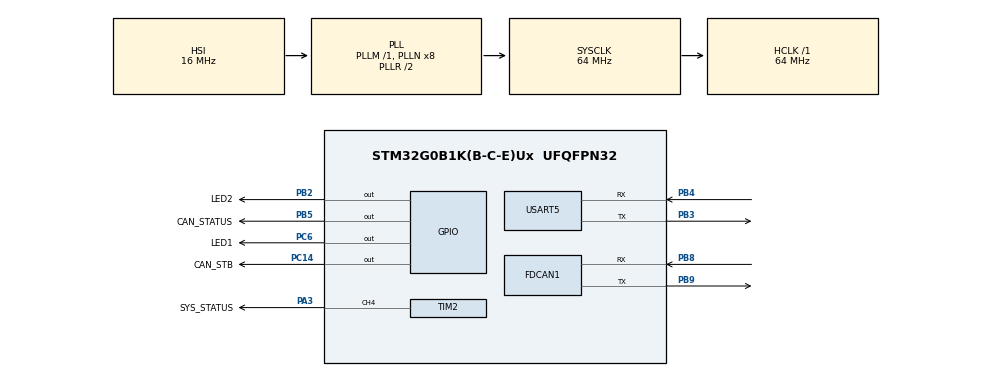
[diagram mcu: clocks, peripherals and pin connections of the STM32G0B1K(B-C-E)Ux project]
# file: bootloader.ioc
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CRC.InputDataFormat=CRC_INPUTDATA_FORMAT_WORDS
FDCAN1.AutoRetransmission=ENABLE
FDCAN1.CalculateBaudRateNominal=1000000
FDCAN1.CalculateTimeBitNominal=1000
FDCAN1.CalculateTimeQuantumNominal=62.5
FDCAN1.NominalPrescaler=4
FDCAN1.NominalTimeSeg1=12
FDCAN1.NominalTimeSeg2=3
IWDG.Prescaler=IWDG_PRESCALER_64
Mcu.Family=STM32G0
Mcu.Name=STM32G0B1K(B-C-E)Ux
Mcu.Package=UFQFPN32
NVIC.RCC_IRQn=true\:0\:0\:false\:false\:true\:true\:false\:true
NVIC.TIM16_FDCAN_IT0_IRQn=true\:0\:0\:false\:false\:true\:true\:true\:true
NVIC.TIM17_FDCAN_IT1_IRQn=true\:0\:0\:false\:false\:true\:true\:true\:true
NVIC.TIM6_DAC_LPTIM1_IRQn=true\:3\:0\:false\:false\:true\:false\:true\:true
NVIC.TimeBase=TIM6_DAC_LPTIM1_IRQn
NVIC.TimeBaseIP=TIM6
PA13.Mode=Serial_Wire
PA13.Signal=SYS_SWDIO
PA14-BOOT0.Mode=Serial_Wire
PA14-BOOT0.Signal=SYS_SWCLK
PA3.GPIO_Label=SYS_STATUS
PA3.Signal=S_TIM2_CH4
PB2.GPIO_Label=LED2
PB2.Signal=GPIO_Output
PB3.Mode=Asynchronous
PB3.Signal=USART5_TX
PB4.Mode=Asynchronous
PB4.Signal=USART5_RX
PB5.GPIO_Label=CAN_STATUS
PB5.Signal=GPIO_Output
PB8.Mode=FDCAN_Activate
PB8.Signal=FDCAN1_RX
PB9.Mode=FDCAN_Activate
PB9.Signal=FDCAN1_TX
PC14-OSC32_IN\ (PC14).GPIO_Label=CAN_STB
PC14-OSC32_IN\ (PC14).Signal=GPIO_Output
PC6.GPIO_Label=LED1
PC6.Signal=GPIO_Output
ProjectManager.HeapSize=0x200
ProjectManager.StackSize=0x400
ProjectManager.TargetToolchain=CMake
RCC.ADCFreq_Value=64000000
RCC.AHBFreq_Value=64000000
RCC.CortexFreq_Value=64000000
RCC.EXTERNAL_CLOCK_VALUE=48000
RCC.HCLKFreq_Value=64000000
RCC.HSE_VALUE=16000000
RCC.HSI48_VALUE=48000000
RCC.HSI_VALUE=16000000
RCC.LSE_VALUE=32768
RCC.SYSCLKFreq_VALUE=64000000
RCC.SYSCLKSource=RCC_SYSCLKSOURCE_PLLCLK
RCC.USBFreq_Value=48000000
RCC.VCOOutputFreq_Value=128000000
SH.S_TIM2_CH4.0=TIM2_CH4,PWM Generation4 CH4
TIM2.Channel-PWM\ Generation4\ CH4=TIM_CHANNEL_4
TIM2.Period=1000
USART5.VirtualMode-Asynchronous=VM_ASYNC
VP_CRC_VS_CRC.Mode=CRC_Activate
VP_IWDG_VS_IWDG.Mode=IWDG_Activate
VP_SYS_VS_DBSignals.Mode=DisableDeadBatterySignals
VP_SYS_VS_tim6.Mode=TIM6
board=custom

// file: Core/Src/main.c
/* USER CODE BEGIN Header */
/**
  ******************************************************************************
  * @file           : main.c
  * @brief          : Main program body
  ******************************************************************************
  * @attention
  *
  * Copyright (c) 2026 STMicroelectronics.
  * All rights reserved.
  *
  * This software is licensed under terms that can be found in the LICENSE file
  * in the root directory of this software component.
  * If no LICENSE file comes with this software, it is provided AS-IS.
  *
  ******************************************************************************
  */
/* USER CODE END Header */
#include "main.h"

/* USER CODE BEGIN Includes */
#include "bootloader.h"
#include "stm32g0xx_hal_gpio.h"
#include "common.h"
/* USER CODE END Includes */

CRC_HandleTypeDef hcrc;

FDCAN_HandleTypeDef hfdcan1;

IWDG_HandleTypeDef hiwdg;

TIM_HandleTypeDef htim2;

UART_HandleTypeDef huart5;

void SystemClock_Config(void);
static void MX_GPIO_Init(void);
static void MX_FDCAN1_Init(void);
static void MX_USART5_UART_Init(void);
static void MX_CRC_Init(void);
static void MX_TIM2_Init(void);
static void MX_IWDG_Init(void);

int main(void)
{

  /* MCU Configuration--------------------------------------------------------*/

  /* Reset of all peripherals, Initializes the Flash interface and the Systick. */
  HAL_Init();

  /* Configure the system clock */
  SystemClock_Config();

  /* Initialize all configured peripherals */
  MX_GPIO_Init();
  MX_FDCAN1_Init();
  MX_USART5_UART_Init();
  MX_CRC_Init();
  MX_TIM2_Init();
  MX_IWDG_Init();
  /* USER CODE BEGIN 2 */
  HAL_TIM_PWM_Start(&htim2, TIM_CHANNEL_4);
  Bootloader_Init();
  Bootloader_CheckAndJump();
  HAL_GPIO_WritePin(LED1_GPIO_Port, LED1_Pin, 1);
  HAL_GPIO_WritePin(LED2_GPIO_Port, LED2_Pin, 1);
  HAL_GPIO_WritePin(CAN_STATUS_GPIO_Port, CAN_STATUS_Pin, 1);
  /* USER CODE END 2 */

  /* Infinite loop */
  while (1)
  {

    /* USER CODE BEGIN 3 */
    uint32_t now = HAL_GetTick();
    uint32_t cycle = now % 2000;
    uint32_t duty;

    if (cycle < 1000) {
        duty = 1000 - cycle; // 1000 to 1
    } else {
        duty = cycle - 1000; // 0 to 1000
    }

    __HAL_TIM_SET_COMPARE(&htim2, TIM_CHANNEL_4, duty);

    Bootloader_Loop();
  }
  /* USER CODE END 3 */
}

void SystemClock_Config(void)
{
  RCC_OscInitTypeDef RCC_OscInitStruct = {0};
  RCC_ClkInitTypeDef RCC_ClkInitStruct = {0};

  /** Configure the main internal regulator output voltage
  */
  HAL_PWREx_ControlVoltageScaling(PWR_REGULATOR_VOLTAGE_SCALE1);

  /** Initializes the RCC Oscillators according to the specified parameters
  * in the RCC_OscInitTypeDef structure.
  */
  RCC_OscInitStruct.OscillatorType = RCC_OSCILLATORTYPE_HSI|RCC_OSCILLATORTYPE_LSI;
  RCC_OscInitStruct.HSIState = RCC_HSI_ON;
  RCC_OscInitStruct.HSIDiv = RCC_HSI_DIV1;
  RCC_OscInitStruct.HSICalibrationValue = RCC_HSICALIBRATION_DEFAULT;
  RCC_OscInitStruct.LSIState = RCC_LSI_ON;
  RCC_OscInitStruct.PLL.PLLState = RCC_PLL_ON;
  RCC_OscInitStruct.PLL.PLLSource = RCC_PLLSOURCE_HSI;
  RCC_OscInitStruct.PLL.PLLM = RCC_PLLM_DIV1;
  RCC_OscInitStruct.PLL.PLLN = 8;
  RCC_OscInitStruct.PLL.PLLP = RCC_PLLP_DIV2;
  RCC_OscInitStruct.PLL.PLLQ = RCC_PLLQ_DIV2;
  RCC_OscInitStruct.PLL.PLLR = RCC_PLLR_DIV2;
  if (HAL_RCC_OscConfig(&RCC_OscInitStruct) != HAL_OK)
  {
    Error_Handler();
  }

  /** Initializes the CPU, AHB and APB buses clocks
  */
  RCC_ClkInitStruct.ClockType = RCC_CLOCKTYPE_HCLK|RCC_CLOCKTYPE_SYSCLK
                              |RCC_CLOCKTYPE_PCLK1;
  RCC_ClkInitStruct.SYSCLKSource = RCC_SYSCLKSOURCE_PLLCLK;
  RCC_ClkInitStruct.AHBCLKDivider = RCC_SYSCLK_DIV1;
  RCC_ClkInitStruct.APB1CLKDivider = RCC_HCLK_DIV1;

  if (HAL_RCC_ClockConfig(&RCC_ClkInitStruct, FLASH_LATENCY_2) != HAL_OK)
  {
    Error_Handler();
  }
}

static void MX_CRC_Init(void)
{

  hcrc.Instance = CRC;
  hcrc.Init.DefaultPolynomialUse = DEFAULT_POLYNOMIAL_ENABLE;
  hcrc.Init.DefaultInitValueUse = DEFAULT_INIT_VALUE_ENABLE;
  hcrc.Init.InputDataInversionMode = CRC_INPUTDATA_INVERSION_NONE;
  hcrc.Init.OutputDataInversionMode = CRC_OUTPUTDATA_INVERSION_DISABLE;
  hcrc.InputDataFormat = CRC_INPUTDATA_FORMAT_WORDS;
  if (HAL_CRC_Init(&hcrc) != HAL_OK)
  {
    Error_Handler();
  }

}

static void MX_FDCAN1_Init(void)
{

  hfdcan1.Instance = FDCAN1;
  hfdcan1.Init.ClockDivider = FDCAN_CLOCK_DIV1;
  hfdcan1.Init.FrameFormat = FDCAN_FRAME_CLASSIC;
  hfdcan1.Init.Mode = FDCAN_MODE_NORMAL;
  hfdcan1.Init.AutoRetransmission = ENABLE;
  hfdcan1.Init.TransmitPause = DISABLE;
  hfdcan1.Init.ProtocolException = DISABLE;
  hfdcan1.Init.NominalPrescaler = 4;
  hfdcan1.Init.NominalSyncJumpWidth = 1;
  hfdcan1.Init.NominalTimeSeg1 = 12;
  hfdcan1.Init.NominalTimeSeg2 = 3;
  hfdcan1.Init.DataPrescaler = 1;
  hfdcan1.Init.DataSyncJumpWidth = 1;
  hfdcan1.Init.DataTimeSeg1 = 1;
  hfdcan1.Init.DataTimeSeg2 = 1;
  hfdcan1.Init.StdFiltersNbr = 0;
  hfdcan1.Init.ExtFiltersNbr = 1;
  hfdcan1.Init.TxFifoQueueMode = FDCAN_TX_FIFO_OPERATION;
  if (HAL_FDCAN_Init(&hfdcan1) != HAL_OK)
  {
    Error_Handler();
  }

}

static void MX_IWDG_Init(void)
{

  hiwdg.Instance = IWDG;
  hiwdg.Init.Prescaler = IWDG_PRESCALER_64;
  hiwdg.Init.Window = 4095;
  hiwdg.Init.Reload = 4095;
  if (HAL_IWDG_Init(&hiwdg) != HAL_OK)
  {
    Error_Handler();
  }

}

static void MX_TIM2_Init(void)
{

  TIM_MasterConfigTypeDef sMasterConfig = {0};
  TIM_OC_InitTypeDef sConfigOC = {0};

  htim2.Instance = TIM2;
  htim2.Init.Prescaler = 0;
  htim2.Init.CounterMode = TIM_COUNTERMODE_UP;
  htim2.Init.Period = 1000;
  htim2.Init.ClockDivision = TIM_CLOCKDIVISION_DIV1;
  htim2.Init.AutoReloadPreload = TIM_AUTORELOAD_PRELOAD_DISABLE;
  if (HAL_TIM_PWM_Init(&htim2) != HAL_OK)
  {
    Error_Handler();
  }
  sMasterConfig.MasterOutputTrigger = TIM_TRGO_RESET;
  sMasterConfig.MasterSlaveMode = TIM_MASTERSLAVEMODE_DISABLE;
  if (HAL_TIMEx_MasterConfigSynchronization(&htim2, &sMasterConfig) != HAL_OK)
  {
    Error_Handler();
  }
  sConfigOC.OCMode = TIM_OCMODE_PWM1;
  sConfigOC.Pulse = 0;
  sConfigOC.OCPolarity = TIM_OCPOLARITY_HIGH;
  sConfigOC.OCFastMode = TIM_OCFAST_DISABLE;
  if (HAL_TIM_PWM_ConfigChannel(&htim2, &sConfigOC, TIM_CHANNEL_4) != HAL_OK)
  {
    Error_Handler();
  }
  HAL_TIM_MspPostInit(&htim2);

}

static void MX_USART5_UART_Init(void)
{

  huart5.Instance = USART5;
  huart5.Init.BaudRate = 115200;
  huart5.Init.WordLength = UART_WORDLENGTH_8B;
  huart5.Init.StopBits = UART_STOPBITS_1;
  huart5.Init.Parity = UART_PARITY_NONE;
  huart5.Init.Mode = UART_MODE_TX_RX;
  huart5.Init.HwFlowCtl = UART_HWCONTROL_NONE;
  huart5.Init.OverSampling = UART_OVERSAMPLING_16;
  huart5.Init.OneBitSampling = UART_ONE_BIT_SAMPLE_DISABLE;
  huart5.Init.ClockPrescaler = UART_PRESCALER_DIV1;
  huart5.AdvancedInit.AdvFeatureInit = UART_ADVFEATURE_NO_INIT;
  if (HAL_UART_Init(&huart5) != HAL_OK)
  {
    Error_Handler();
  }

}

static void MX_GPIO_Init(void)
{
  GPIO_InitTypeDef GPIO_InitStruct = {0};

  /* GPIO Ports Clock Enable */
  __HAL_RCC_GPIOB_CLK_ENABLE();
  __HAL_RCC_GPIOC_CLK_ENABLE();
  __HAL_RCC_GPIOA_CLK_ENABLE();

  /*Configure GPIO pin Output Level */
  HAL_GPIO_WritePin(GPIOC, CAN_STB_Pin|LED1_Pin, GPIO_PIN_RESET);

  /*Configure GPIO pin Output Level */
  HAL_GPIO_WritePin(GPIOB, LED2_Pin|CAN_STATUS_Pin, GPIO_PIN_RESET);

  /*Configure GPIO pins : CAN_STB_Pin LED1_Pin */
  GPIO_InitStruct.Pin = CAN_STB_Pin|LED1_Pin;
  GPIO_InitStruct.Mode = GPIO_MODE_OUTPUT_PP;
  GPIO_InitStruct.Pull = GPIO_NOPULL;
  GPIO_InitStruct.Speed = GPIO_SPEED_FREQ_LOW;
  HAL_GPIO_Init(GPIOC, &GPIO_InitStruct);

  /*Configure GPIO pins : LED2_Pin CAN_STATUS_Pin */
  GPIO_InitStruct.Pin = LED2_Pin|CAN_STATUS_Pin;
  GPIO_InitStruct.Mode = GPIO_MODE_OUTPUT_PP;
  GPIO_InitStruct.Pull = GPIO_NOPULL;
  GPIO_InitStruct.Speed = GPIO_SPEED_FREQ_LOW;
  HAL_GPIO_Init(GPIOB, &GPIO_InitStruct);

}

/* USER CODE BEGIN 4 */
void HAL_FDCAN_RxFifo0Callback(FDCAN_HandleTypeDef *hfdcan, uint32_t RxFifo0ITs)
{
  if ((RxFifo0ITs & FDCAN_IT_RX_FIFO0_NEW_MESSAGE) != 0)
  {
    Bootloader_RxCallback();
  }
}
/* USER CODE END 4 */

void HAL_TIM_PeriodElapsedCallback(TIM_HandleTypeDef *htim)
{
  if (htim->Instance == TIM6)
  {
    HAL_IncTick();
  }
}

void Error_Handler(void)
{
  __disable_irq();
  while (1)
  {
  }
}
